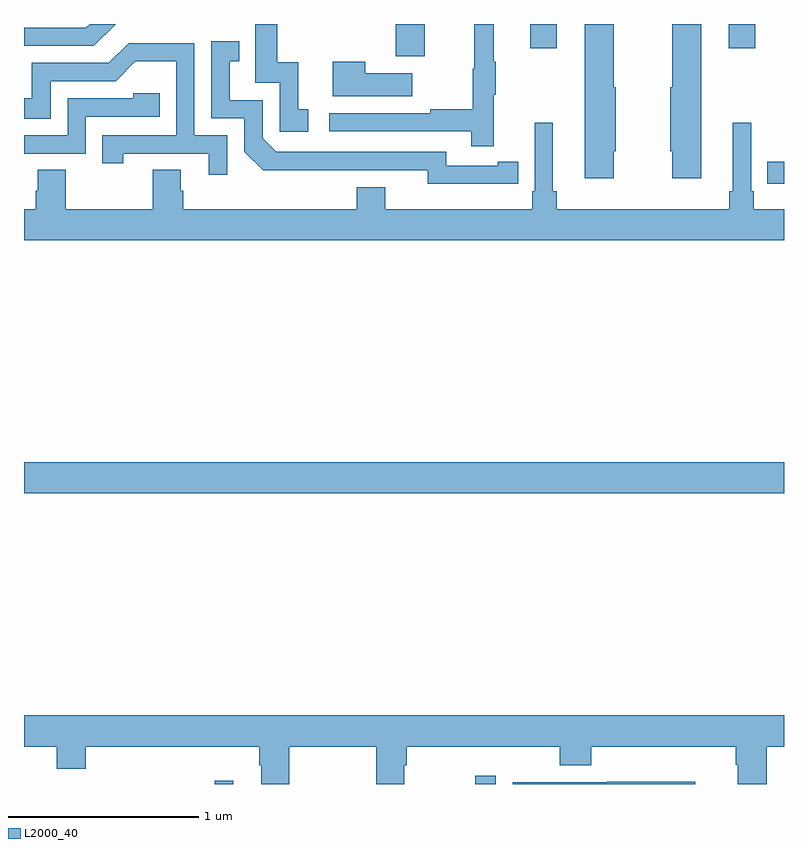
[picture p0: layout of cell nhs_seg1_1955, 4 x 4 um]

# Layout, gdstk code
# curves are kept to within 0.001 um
import gdstk
lib = gdstk.Library(unit=1e-6, precision=1e-09)
def R(c, l, rs):  # rectangles x0, y0, x1, y1
    for r in rs: c.add(gdstk.rectangle(r[:2], r[2:], *l))
def P(c, l, *ps):  # polygons
    for p in ps: c.add(gdstk.Polygon(p, *l))
L2000_40 = (2000, 40)

nhs_seg1_1955 = lib.new_cell('nhs_seg1_1955')
R(nhs_seg1_1955, L2000_40, [(218.004,554.199,218.101,554.215), (219.375,554.199,219.483,554.242), (217,555.728,221,555.892), (220.912,557.358,221,557.474), (218.957,558.03,219.109,558.199), (219.665,558.072,219.805,558.199), (220.709,558.072,220.849,558.199)])
P(nhs_seg1_1955, L2000_40, [(217.483,558.199),(217.345,558.199),(217.326,558.18),(217,558.18),(217,558.084),(217.368,558.084)],
  [(220.104,557.529),(220.114,557.529),(220.114,557.865),(220.104,557.865),(220.104,558.199),(219.95,558.199),(219.95,557.388),(220.104,557.388)],
  [(220.564,558.199),(220.411,558.199),(220.411,557.865),(220.4,557.865),(220.4,557.529),(220.411,557.529),(220.411,557.388),(220.564,557.388)],
  [(218.497,557.751),(218.444,557.751),(218.444,557.998),(218.333,557.998),(218.333,558.199),(218.217,558.199),(218.217,557.889),(218.346,557.889),(218.346,557.631),(218.497,557.631)],
  [(219.473,557.827),(219.484,557.827),(219.484,558.001),(219.473,558.001),(219.473,558.199),(219.37,558.199),(219.37,557.964),(219.363,557.964),(219.363,557.75),(219.139,557.75),(219.139,557.73),(218.607,557.73),(218.607,557.634),(219.355,557.634),(219.355,557.556),(219.473,557.556)],
  [(219.494,557.358),(219.602,557.358),(219.602,557.474),(219.494,557.474),(219.494,557.454),(219.222,557.454),(219.222,557.526),(218.328,557.526),(218.256,557.598),(218.256,557.799),(218.083,557.799),(218.083,558.003),(218.132,558.003),(218.132,558.109),(217.986,558.109),(217.986,557.703),(218.16,557.703),(218.16,557.526),(218.258,557.429),(219.126,557.43),(219.126,557.357)],
  [(218.07,557.613),(217.896,557.613),(217.896,558.099),(217.55,558.099),(217.445,557.994),(217.042,557.994),(217.042,557.809),(217,557.809),(217,557.7),(217.14,557.7),(217.14,557.898),(217.482,557.898),(217.586,558.002),(217.8,558.002),(217.8,557.613),(217.411,557.613),(217.411,557.466),(217.522,557.466),(217.522,557.517),(217.973,557.517),(217.973,557.406),(218.07,557.406)],
  [(219.043,557.941),(218.795,557.941),(218.795,558.001),(218.624,558.001),(218.624,557.819),(219.043,557.819)],
  [(217.326,557.712),(217.715,557.712),(217.715,557.835),(217.575,557.835),(217.575,557.808),(217.23,557.808),(217.23,557.613),(217,557.613),(217,557.517),(217.326,557.517)],
  [(221,557.224),(220.841,557.224),(220.841,557.32),(220.827,557.32),(220.827,557.68),(220.73,557.68),(220.73,557.32),(220.711,557.32),(220.711,557.224),(219.803,557.224),(219.803,557.32),(219.784,557.32),(219.784,557.68),(219.687,557.68),(219.687,557.32),(219.674,557.32),(219.674,557.224),(218.902,557.224),(218.902,557.341),(218.75,557.341),(218.75,557.224),(217.838,557.224),(217.838,557.322),(217.825,557.322),(217.825,557.432),(217.678,557.432),(217.678,557.224),(217.221,557.224),(217.221,557.432),(217.073,557.432),(217.073,557.322),(217.061,557.322),(217.061,557.224),(217,557.224),(217,557.06),(221,557.06)],
  [(217,554.396),(217.172,554.396),(217.172,554.279),(217.325,554.279),(217.325,554.396),(218.237,554.396),(218.237,554.298),(218.249,554.298),(218.249,554.199),(218.397,554.199),(218.397,554.396),(218.854,554.396),(218.854,554.199),(219.001,554.199),(219.001,554.298),(219.014,554.298),(219.014,554.396),(219.821,554.396),(219.821,554.297),(219.986,554.297),(219.986,554.396),(220.745,554.396),(220.745,554.3),(220.757,554.3),(220.757,554.199),(220.91,554.199),(220.91,554.396),(221,554.396),(221,554.56),(217,554.56)],
  [(220.533,554.21),(220.069,554.21),(220.069,554.208),(219.573,554.208),(219.573,554.199),(220.533,554.199)])

lib.write_gds('nhs_seg1_1955.gds')
